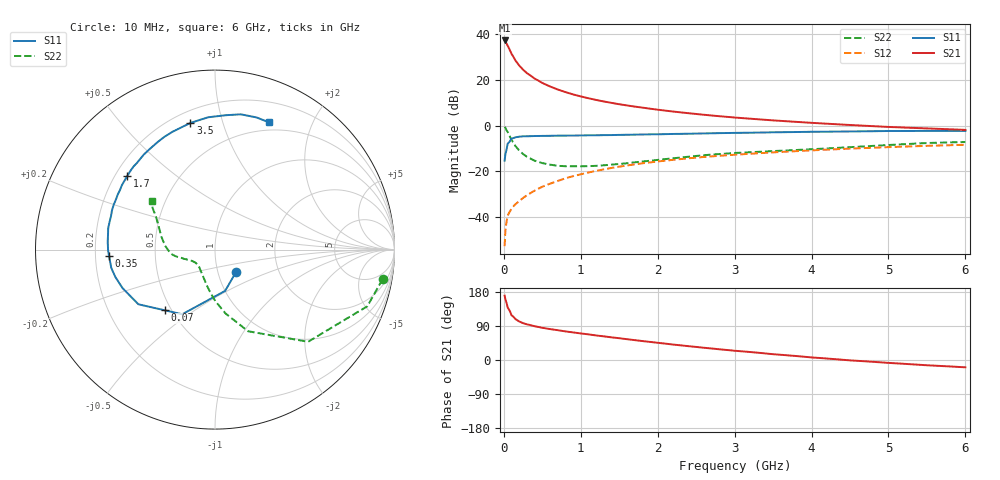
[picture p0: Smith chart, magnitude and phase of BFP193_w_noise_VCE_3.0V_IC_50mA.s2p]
! Infineon Technologies  Discrete & RF Semiconductors
! BFP193
! VCE =  3.0 V,  IC =  50 mA
! Common Emitter S-Parameters:  Jan 2017
# GHz  S  MA  R  50
!  f  S11  S21  S12  S22
! GHz  MAG  ANG  MAG  ANG  MAG  ANG  MAG  ANG
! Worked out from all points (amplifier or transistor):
!   77 points, 10 MHz to 6 GHz, reference 50 ohm
!   highest |S21| = 37.4 dB at 10 MHz (marker M1)
!   |S21| within 3 dB of that: start of sweep to 60.69 MHz
!   unconditionally stable (mu >= 1): 532.6 MHz to 2.421 GHz
!   at 130 MHz: K = 0.64, MSG = 32.5 dB, |S12| = -35.1 dB
!   at 2.2 GHz: K = 1.01, MAG = 10.0 dB, |S12| = -14.9 dB
!   at 6 GHz: K = 0.94, MSG = 3.3 dB, |S12| = -8.3 dB
!   lowest NFmin = 1.52 dB at 450 MHz
!   S11 on the Smith chart (normalised r, x): 10 MHz: 1.22, -0.31; 70 MHz: 0.46, -0.39; 350 MHz: 0.26, -0.03; 1.7 GHz: 0.25, +0.35; 3.5 GHz: 0.27, +0.79; 6 GHz: 0.41, +1.43
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0.01  0.1714 -46.9  73.92 169.9  0.0023 80.7  0.948 -10.0
0.02  0.2369 -76.2  71.96 160.6  0.0049 76.5  0.9057 -20.4
0.05  0.404 -116.9  56.85 138.2  0.0107 62.2  0.73 -44.7
0.07  0.4392 -129.7  48.54 132.0  0.0125 60.3  0.6234 -51.8
0.1  0.5244 -144.5  37.71 118.0  0.0152 58.3  0.4911 -67.9
0.15  0.5581 -157.4  27 108.0  0.0191 60.4  0.36 -80.7
0.2  0.5758 -164.6  20.86 101.7  0.0223 62.4  0.287 -89.6
0.25  0.5869 -170.0  16.93 97.2  0.0262 63.4  0.2404 -96.2
0.3  0.5885 -173.7  14.21 94.1  0.0299 64.8  0.2086 -102.1
0.35  0.5913 -176.6  12.49 91.9  0.0338 66.3  0.1895 -106.2
0.4  0.5956 -179.4  10.8 89.0  0.0378 67.5  0.1715 -111.2
0.5  0.5993 175.9  8.665 85.0  0.0461 67.9  0.1521 -118.7
0.6  0.6019 172.0  7.263 81.6  0.0538 68.6  0.1406 -125.4
0.8  0.6075 165.3  5.468 75.5  0.0706 68.9  0.1298 -134.6
1.1  0.6173 156.2  4.004 67.6  0.0947 66.1  0.1304 -145.1
1.7  0.6385 139.8  2.632 52.5  0.1424 59.1  0.1579 -158.2
2.1  0.6551 129.4  2.146 43.2  0.172 53.9  0.186 -164.7
3.1  0.7006 108.1  1.471 22.8  0.2375 40.7  0.2579 -178.4
3.5  0.7188 101.0  1.311 15.3  0.2611 36.2  0.2788 175.6
4.1  0.7395 91.6  1.133 5.4  0.2941 28.7  0.3121 164.8
5.1  0.7674 77.9  0.928 -8.8  0.3445 17.1  0.3863 149.6
6  0.7703 66.9  0.812 -19.3  0.3834 7.1  0.441 142.3
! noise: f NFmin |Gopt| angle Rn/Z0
0.45  1.52  0.43  -170  0.08
0.9  1.57  0.45  -164  0.09
1.9  2.2  0.61  -132  0.23
2.4  2.55  0.64  -119  0.48
